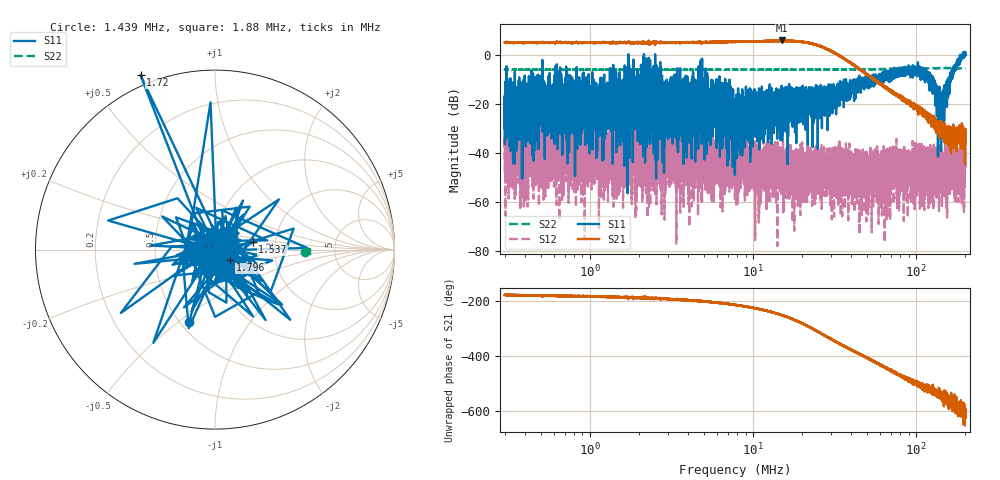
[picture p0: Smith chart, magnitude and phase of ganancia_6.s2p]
# Hz S DB R 50
! CMT, M5065, 19127446, 24.2.4/2
! Date: 11/1/2024 4:17:32 PM
! Data: Format (Calibration Info)
! Freq	S11:dB/Ang(F2)	S21:dB/Ang(F2)	S12:dB/Ang(F2)	S22:dB/Ang(F2)
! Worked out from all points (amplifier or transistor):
!   9000 points, 300 kHz to 200 MHz, reference 50 ohm
!   highest |S21| = 6.1 dB at 14.94 MHz (marker M1)
!   |S21| within 3 dB of that: start of sweep to 27.14 MHz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
!   unconditionally stable (mu >= 1): start of sweep to 1.719 MHz; 2.512 MHz to 185.3 MHz; 185.5 MHz to 189.5 MHz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
!   at 886.8 kHz: K = 203.23, MAG = 6.6 dB, |S12| = -60.2 dB
!   at 7.749 MHz: K = 59.25, MAG = 6.9 dB, |S12| = -49.7 dB
!   at 200 MHz: K = -468.10, MSG = 1.8 dB, |S12| = -40.1 dB
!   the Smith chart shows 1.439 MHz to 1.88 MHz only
!   S11 on the Smith chart (normalised r, x): 1.439 MHz: 0.56, -0.55; 1.537 MHz: 1.52, +0.13; 1.72 MHz: -0.04, +0.66; 1.796 MHz: 1.17, -0.14; 1.88 MHz: 1.04, +0.16
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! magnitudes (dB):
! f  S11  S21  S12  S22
! 300 kHz  -30.0  5.3  -32.9  -6.0
! 315.6 kHz  -33.7  5.2  -39.5  -5.9
! 395.9 kHz  -19.4  5.2  -41.8  -5.9
! 886.8 kHz  -15.7  5.2  -60.2  -5.9
! 1.439 MHz  -7.4  5.4  -29.7  -6.0
! 1.537 MHz  -13.4  5.0  -31.2  -5.9
! 1.72 MHz  0.5  5.4  -22.1  -5.7
! 1.796 MHz  -19.8  5.1  -44.3  -5.9
! 1.88 MHz  -21.7  5.1  -49.1  -5.8
! 2.409 MHz  -11.3  5.1  -35.3  -5.9
! 2.621 MHz  -34.5  5.2  -35.6  -5.9
! 4.775 MHz  -15.7  5.3  -36.7  -5.9
! 7.749 MHz  -34.5  5.6  -49.7  -5.9
! 14.94 MHz  -12.4  6.1  -45.4  -5.8
! 22.91 MHz  -16.4  4.9  -41.3  -5.9
! 67.71 MHz  -10.4  -13.8  -47.0  -5.6
! 108.1 MHz  -7.2  -22.1  -36.2  -5.4
! 123.2 MHz  -8.3  -25.6  -52.1  -5.3
! 143.9 MHz  -23.0  -31.8  -46.8  -5.2
! 166.7 MHz  -5.4  -35.5  -50.4  -5.2
! 192.6 MHz  0.3  -35.1  -40.8  -5.3
! 200 MHz  0.8  -36.6  -40.1  -5.3
